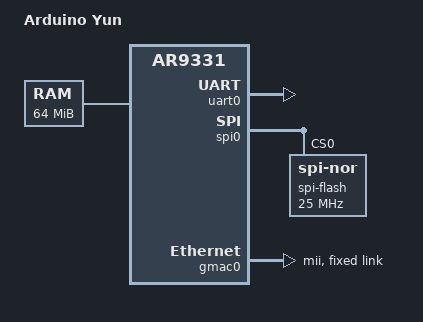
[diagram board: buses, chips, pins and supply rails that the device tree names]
// SPDX-License-Identifier: GPL-2.0+
/*
 * Device Tree for Arduino Yun
 *
 * Based on AP121 reference design with modifications:
 * - 64MB DDR2 (vs 32MB DDR1)
 * - 16MB SPI Flash (vs 4MB)
 * - 250000 baud UART (for ATmega32U4 bridge)
 *
 * Copyright (C) 2024 Arduino SA
 */

/dts-v1/;

#include "ar933x.dtsi"

/ {
	model = "Arduino Yun";
	compatible = "arduino,yun", "qca,ar9331";

	chosen {
		stdout-path = "serial0:250000n8";
	};

	aliases {
		serial0 = &uart0;
		spi0 = &spi0;
	};

	memory@0 {
		device_type = "memory";
		reg = <0x00000000 0x04000000>;  /* 64MB DDR2 */
	};
};

&xtal {
	clock-frequency = <25000000>;
};

&uart0 {
	status = "okay";
};

&spi0 {
	spi-max-frequency = <25000000>;
	status = "okay";

	spi-flash@0 {
		#address-cells = <1>;
		#size-cells = <1>;
		compatible = "jedec,spi-nor";
		memory-map = <0x9f000000 0x01000000>;  /* 16MB mapped at 0x9f000000 */
		spi-max-frequency = <25000000>;
		reg = <0>;
	};
};

&gmac0 {
	phy-mode = "mii";
	status = "okay";

	fixed-link {
		speed = <100>;
		full-duplex;
	};
};
